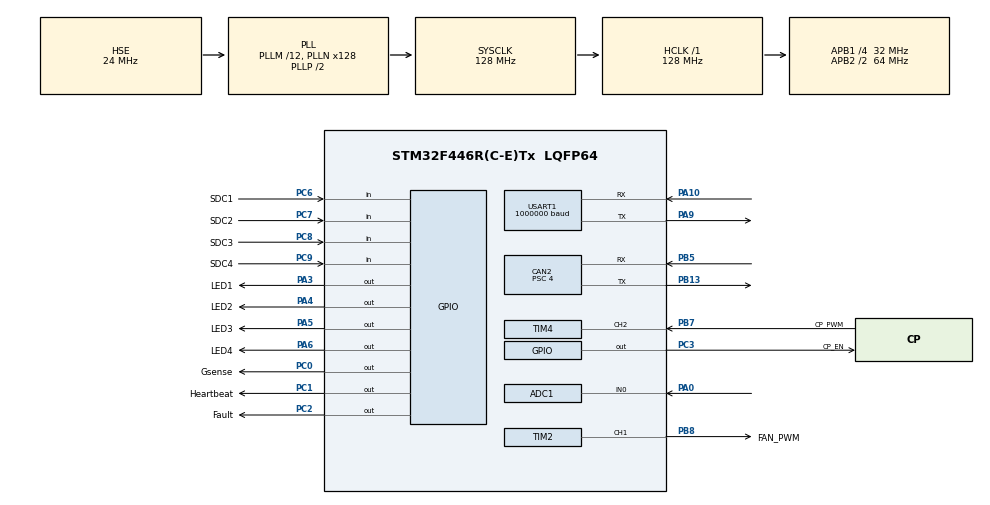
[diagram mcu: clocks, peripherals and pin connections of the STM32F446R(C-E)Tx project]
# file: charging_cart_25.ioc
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ADC1.Channel-1\#ChannelRegularConversion=ADC_CHANNEL_0
ADC1.NbrOfConversionFlag=1
ADC1.Rank-1\#ChannelRegularConversion=1
ADC1.SamplingTime-1\#ChannelRegularConversion=ADC_SAMPLETIME_3CYCLES
ADC1.master=1
CAN2.ABOM=ENABLE
CAN2.AWUM=ENABLE
CAN2.BS1=CAN_BS1_6TQ
CAN2.CalculateBaudRate=1000000
CAN2.CalculateTimeBit=1000
CAN2.CalculateTimeQuantum=125.0
CAN2.Mode=CAN_MODE_NORMAL
CAN2.Prescaler=4
FREERTOS.Tasks01=printTask,0,1024,startPrintTask,Default,NULL,Static,printTaskBuffer,printTaskControlBlock;idleTask,-3,1024,startIdleTask,Default,NULL,Static,idleTaskBuffer,idleTaskControlBlock;serviceGcanTask,0,1024,startServiceGcanTask,Default,NULL,Static,serviceGcanBuffer,serviceGcanControlBlock;sdc,-3,1024,startSdc,Default,NULL,Static,sdcBuffer,sdcControlBlock;j1772,-3,1024,startJ1772,Default,NULL,Static,j1772Buffer,j1772ControlBlock;status_led,-3,1024,Startstatus_led,Default,NULL,Static,status_ledBuffer,status_ledControlBlock
Mcu.Family=STM32F4
Mcu.Name=STM32F446R(C-E)Tx
Mcu.Package=LQFP64
NVIC.CAN2_RX0_IRQn=true\:5\:0\:false\:false\:true\:true\:true\:true\:true
NVIC.CAN2_RX1_IRQn=true\:5\:0\:false\:false\:true\:true\:true\:true\:true
NVIC.CAN2_TX_IRQn=true\:5\:0\:false\:false\:true\:true\:true\:true\:true
NVIC.PriorityGroup=NVIC_PRIORITYGROUP_4
NVIC.TIM2_IRQn=true\:5\:0\:false\:false\:true\:true\:true\:true\:true
NVIC.TIM4_IRQn=true\:5\:0\:false\:false\:true\:true\:true\:true\:true
NVIC.TIM6_DAC_IRQn=true\:15\:0\:false\:false\:true\:false\:false\:true\:true
NVIC.TimeBase=TIM6_DAC_IRQn
NVIC.TimeBaseIP=TIM6
PA0-WKUP.Signal=ADCx_IN0
PA10.Mode=Asynchronous
PA10.Signal=USART1_RX
PA3.GPIO_Label=LED1
PA3.Signal=GPIO_Output
PA4.GPIO_Label=LED2
PA4.Signal=GPIO_Output
PA5.GPIO_Label=LED3
PA5.Signal=GPIO_Output
PA6.GPIO_Label=LED4
PA6.Signal=GPIO_Output
PA9.Mode=Asynchronous
PA9.Signal=USART1_TX
PB13.Mode=CAN_Activate
PB13.Signal=CAN2_TX
PB5.Mode=CAN_Activate
PB5.Signal=CAN2_RX
PB7.GPIO_Label=CP_PWM
PB7.Signal=S_TIM4_CH2
PB8.GPIO_Label=FAN_PWM
PB8.Signal=S_TIM2_CH1_ETR
PC0.GPIO_Label=Gsense
PC0.Signal=GPIO_Output
PC1.GPIO_Label=Heartbeat
PC1.Signal=GPIO_Output
PC2.GPIO_Label=Fault
PC2.Signal=GPIO_Output
PC3.GPIO_Label=CP_EN
PC3.Signal=GPIO_Output
PC6.GPIO_Label=SDC1
PC6.Signal=GPIO_Input
PC7.GPIO_Label=SDC2
PC7.Signal=GPIO_Input
PC8.GPIO_Label=SDC3
PC8.Signal=GPIO_Input
PC9.GPIO_Label=SDC4
PC9.Signal=GPIO_Input
PH0-OSC_IN.Mode=HSE-External-Oscillator
PH0-OSC_IN.Signal=RCC_OSC_IN
PH1-OSC_OUT.Mode=HSE-External-Oscillator
PH1-OSC_OUT.Signal=RCC_OSC_OUT
ProjectManager.HeapSize=0x200
ProjectManager.StackSize=0x400
ProjectManager.TargetToolchain=CMake
RCC.AHBFreq_Value=128000000
RCC.APB1CLKDivider=RCC_HCLK_DIV4
RCC.APB1Freq_Value=32000000
RCC.APB1TimFreq_Value=64000000
RCC.APB2CLKDivider=RCC_HCLK_DIV2
RCC.APB2Freq_Value=64000000
RCC.APB2TimFreq_Value=128000000
RCC.CortexFreq_Value=128000000
RCC.HCLKFreq_Value=128000000
RCC.HSE_VALUE=24000000
RCC.PLLM=12
RCC.PLLN=128
RCC.PLLSourceVirtual=RCC_PLLSOURCE_HSE
RCC.SYSCLKFreq_VALUE=128000000
RCC.SYSCLKSource=RCC_SYSCLKSOURCE_PLLCLK
RCC.USBFreq_Value=128000000
RCC.VCOOutputFreq_Value=256000000
SH.ADCx_IN0.0=ADC1_IN0,IN0
SH.S_TIM2_CH1_ETR.0=TIM2_CH1,PWM Generation1 CH1
SH.S_TIM4_CH2.0=TIM4_CH2,PWM_Input_2
TIM1.Channel-PWM\ Generation1\ CH1=TIM_CHANNEL_1
TIM2.Channel-PWM\ Generation1\ CH1=TIM_CHANNEL_1
TIM2.Period=65535
TIM2.Prescaler=29297
TIM4.ICPolarity_1=TIM_INPUTCHANNELPOLARITY_FALLING
TIM4.Prescaler=63
USART1.BaudRate=1000000
USART1.VirtualMode=VM_ASYNC
VP_FREERTOS_VS_CMSIS_V1.Mode=CMSIS_V1
VP_SYS_VS_tim6.Mode=TIM6
VP_TIM1_VS_ClockSourceINT.Mode=Internal
VP_TIM2_VS_ClockSourceINT.Mode=Internal
VP_TIM4_VS_ClockSourceINT.Mode=Internal
board=custom

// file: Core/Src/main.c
/* USER CODE BEGIN Header */
/**
  ******************************************************************************
  * @file           : main.c
  * @brief          : Main program body
  ******************************************************************************
  * @attention
  *
  * Copyright (c) 2025 STMicroelectronics.
  * All rights reserved.
  *
  * This software is licensed under terms that can be found in the LICENSE file
  * in the root directory of this software component.
  * If no LICENSE file comes with this software, it is provided AS-IS.
  *
  ******************************************************************************
  */
/* USER CODE END Header */
#include "main.h"
#include "cmsis_os.h"

/* USER CODE BEGIN Includes */
#include "idleTask.h"
#include "j1772.h"
#include "sdc.h"
#include "status_led.h"
#include "GopherCAN.h"
#include "gopher_sense.h"
/* USER CODE END Includes */

ADC_HandleTypeDef hadc1;

CAN_HandleTypeDef hcan2;

TIM_HandleTypeDef htim1;
TIM_HandleTypeDef htim2;
TIM_HandleTypeDef htim4;

UART_HandleTypeDef huart1;

osThreadId printTaskHandle;
uint32_t printTaskBuffer[ 1024 ];
osStaticThreadDef_t printTaskControlBlock;
osThreadId idleTaskHandle;
uint32_t idleTaskBuffer[ 1024 ];
osStaticThreadDef_t idleTaskControlBlock;
osThreadId serviceGcanTaskHandle;
uint32_t serviceGcanBuffer[ 1024 ];
osStaticThreadDef_t serviceGcanControlBlock;
osThreadId sdcHandle;
uint32_t sdcBuffer[ 1024 ];
osStaticThreadDef_t sdcControlBlock;
osThreadId j1772Handle;
uint32_t j1772Buffer[ 1024 ];
osStaticThreadDef_t j1772ControlBlock;
osThreadId status_ledHandle;
uint32_t status_ledBuffer[ 1024 ];
osStaticThreadDef_t status_ledControlBlock;
/* USER CODE BEGIN PV */

// J1772 Control Pilot (CP) PWM status variables
volatile uint32_t cpFrequency;
volatile uint32_t cpHighTime;
volatile uint32_t cpDutyCycle;
volatile uint32_t cpLastUpdate;
chargingData_S chargingData;

uint8_t buzzer_toggle = 0;

/* USER CODE END PV */

void SystemClock_Config(void);
static void MX_GPIO_Init(void);
static void MX_ADC1_Init(void);
static void MX_CAN2_Init(void);
static void MX_USART1_UART_Init(void);
static void MX_TIM1_Init(void);
static void MX_TIM4_Init(void);
static void MX_TIM2_Init(void);
void startPrintTask(void const * argument);
void startIdleTask(void const * argument);
void startServiceGcanTask(void const * argument);
void startSdc(void const * argument);
void startJ1772(void const * argument);
void Startstatus_led(void const * argument);

/* USER CODE BEGIN PFP */
#ifdef __GNUC__
#define PUTCHAR_PROTOTYPE int __io_putchar(int ch)
#define GETCHAR_PROTOTYPE int __io_getchar(void)
#else
#define PUTCHAR_PROTOTYPE int fputc(int ch, FILE *f)
#define GETCHAR_PROTOTYPE int fgetc(FILE *f)
#endif

PUTCHAR_PROTOTYPE
{
  HAL_UART_Transmit(&huart1, (uint8_t *)&ch, 1, HAL_MAX_DELAY);
  return ch;
}

GETCHAR_PROTOTYPE
{
  uint8_t ch = 0;

  /* Clear the Overrun flag just before receiving the first character */
  __HAL_UART_CLEAR_OREFLAG(&huart1);

  /* Wait for reception of a character on the USART RX line and echo this
   * character on console */
  HAL_UART_Receive(&huart1, (uint8_t *)&ch, 1, HAL_MAX_DELAY);
  HAL_UART_Transmit(&huart1, (uint8_t *)&ch, 1, HAL_MAX_DELAY);
  return ch;
}
/* USER CODE END PFP */

/* USER CODE BEGIN 0 */

/*!
  @brief   Interrupt when Timer input capture triggered
  @param   TIM Handle
*/
void HAL_TIM_IC_CaptureCallback(TIM_HandleTypeDef *htim)
{
	// If the interrupt is triggered by channel 2 (rising edge detection)
  if ((htim == &htim4) && (htim->Channel == HAL_TIM_ACTIVE_CHANNEL_2))
	{
    // Record cp update time
    cpLastUpdate = HAL_GetTick();

		// Read the raw IC value of the timer with rising edge detection (this should be 1000 us (1 ms))
		uint32_t inputCaptureRaw = HAL_TIM_ReadCapturedValue(htim, TIM_CHANNEL_2);
    // Prevent divide by 0
		if(inputCaptureRaw != 0)
		{
      // Calculate the signal high time in microseconds
      // The captured value in channel one contains the timestamp of the falling edge.
      // Since the timer is reset on a rising edge this contains the pulse width of the high time.
      cpHighTime = HAL_TIM_ReadCapturedValue(htim, TIM_CHANNEL_1);

			// Calculate the Duty Cycle
      // This high time value is then divided by inputCaptureRaw -
      // which is the period of the PWM cycle in timer ticks to get duty cycle
      // (multiply by 100 because duty cycle is a percentage)
			cpDutyCycle = (HAL_TIM_ReadCapturedValue(htim, TIM_CHANNEL_1) * 100) / inputCaptureRaw;

      // Calculate the Frequency
      // The timer CLK runs at 2x frequency of PCLK1. This is then divided by the prescalar.
      uint32_t timerFrequency = (HAL_RCC_GetPCLK1Freq() * 2) / htim4.Init.Prescaler;
      // Frequency scaling
			cpFrequency =  timerFrequency / inputCaptureRaw;
		}
	}
}

/* USER CODE END 0 */

int main(void)
{

  /* MCU Configuration--------------------------------------------------------*/

  /* Reset of all peripherals, Initializes the Flash interface and the Systick. */
  HAL_Init();

  /* Configure the system clock */
  SystemClock_Config();

  /* Initialize all configured peripherals */
  MX_GPIO_Init();
  MX_ADC1_Init();
  MX_CAN2_Init();
  MX_USART1_UART_Init();
  MX_TIM1_Init();
  MX_TIM4_Init();
  MX_TIM2_Init();
  /* USER CODE BEGIN 2 */

  init_can(&hcan2, GCAN0);
  gsense_init(&hcan2, Gsense_GPIO_Port, Gsense_Pin);

  // Set CP_EN to low (disabled) by default
  HAL_GPIO_WritePin(CP_EN_GPIO_Port, CP_EN_Pin, GPIO_PIN_RESET);

  // Start J1772 PWM input capture
  HAL_TIM_IC_Start(&htim4, TIM_CHANNEL_1);
  HAL_TIM_IC_Start_IT(&htim4, TIM_CHANNEL_2);

  /* USER CODE END 2 */

  /* Create the thread(s) */
  /* definition and creation of printTask */
  osThreadStaticDef(printTask, startPrintTask, osPriorityNormal, 0, 1024, printTaskBuffer, &printTaskControlBlock);
  printTaskHandle = osThreadCreate(osThread(printTask), NULL);

  /* definition and creation of idleTask */
  osThreadStaticDef(idleTask, startIdleTask, osPriorityIdle, 0, 1024, idleTaskBuffer, &idleTaskControlBlock);
  idleTaskHandle = osThreadCreate(osThread(idleTask), NULL);

  /* definition and creation of serviceGcanTask */
  osThreadStaticDef(serviceGcanTask, startServiceGcanTask, osPriorityNormal, 0, 1024, serviceGcanBuffer, &serviceGcanControlBlock);
  serviceGcanTaskHandle = osThreadCreate(osThread(serviceGcanTask), NULL);

  /* definition and creation of sdc */
  osThreadStaticDef(sdc, startSdc, osPriorityIdle, 0, 1024, sdcBuffer, &sdcControlBlock);
  sdcHandle = osThreadCreate(osThread(sdc), NULL);

  /* definition and creation of j1772 */
  osThreadStaticDef(j1772, startJ1772, osPriorityIdle, 0, 1024, j1772Buffer, &j1772ControlBlock);
  j1772Handle = osThreadCreate(osThread(j1772), NULL);

  /* definition and creation of status_led */
  osThreadStaticDef(status_led, Startstatus_led, osPriorityIdle, 0, 1024, status_ledBuffer, &status_ledControlBlock);
  status_ledHandle = osThreadCreate(osThread(status_led), NULL);

  /* Start scheduler */
  osKernelStart();

  /* We should never get here as control is now taken by the scheduler */

  /* Infinite loop */
  while (1)
  {

  }
}

void SystemClock_Config(void)
{
  RCC_OscInitTypeDef RCC_OscInitStruct = {0};
  RCC_ClkInitTypeDef RCC_ClkInitStruct = {0};

  /** Configure the main internal regulator output voltage
  */
  __HAL_RCC_PWR_CLK_ENABLE();
  __HAL_PWR_VOLTAGESCALING_CONFIG(PWR_REGULATOR_VOLTAGE_SCALE2);

  /** Initializes the RCC Oscillators according to the specified parameters
  * in the RCC_OscInitTypeDef structure.
  */
  RCC_OscInitStruct.OscillatorType = RCC_OSCILLATORTYPE_HSE;
  RCC_OscInitStruct.HSEState = RCC_HSE_ON;
  RCC_OscInitStruct.PLL.PLLState = RCC_PLL_ON;
  RCC_OscInitStruct.PLL.PLLSource = RCC_PLLSOURCE_HSE;
  RCC_OscInitStruct.PLL.PLLM = 12;
  RCC_OscInitStruct.PLL.PLLN = 128;
  RCC_OscInitStruct.PLL.PLLP = RCC_PLLP_DIV2;
  RCC_OscInitStruct.PLL.PLLQ = 2;
  RCC_OscInitStruct.PLL.PLLR = 2;
  if (HAL_RCC_OscConfig(&RCC_OscInitStruct) != HAL_OK)
  {
    Error_Handler();
  }

  /** Initializes the CPU, AHB and APB buses clocks
  */
  RCC_ClkInitStruct.ClockType = RCC_CLOCKTYPE_HCLK|RCC_CLOCKTYPE_SYSCLK
                              |RCC_CLOCKTYPE_PCLK1|RCC_CLOCKTYPE_PCLK2;
  RCC_ClkInitStruct.SYSCLKSource = RCC_SYSCLKSOURCE_PLLCLK;
  RCC_ClkInitStruct.AHBCLKDivider = RCC_SYSCLK_DIV1;
  RCC_ClkInitStruct.APB1CLKDivider = RCC_HCLK_DIV4;
  RCC_ClkInitStruct.APB2CLKDivider = RCC_HCLK_DIV2;

  if (HAL_RCC_ClockConfig(&RCC_ClkInitStruct, FLASH_LATENCY_4) != HAL_OK)
  {
    Error_Handler();
  }
}

static void MX_ADC1_Init(void)
{

  ADC_ChannelConfTypeDef sConfig = {0};

  /** Configure the global features of the ADC (Clock, Resolution, Data Alignment and number of conversion)
  */
  hadc1.Instance = ADC1;
  hadc1.Init.ClockPrescaler = ADC_CLOCK_SYNC_PCLK_DIV2;
  hadc1.Init.Resolution = ADC_RESOLUTION_12B;
  hadc1.Init.ScanConvMode = DISABLE;
  hadc1.Init.ContinuousConvMode = DISABLE;
  hadc1.Init.DiscontinuousConvMode = DISABLE;
  hadc1.Init.ExternalTrigConvEdge = ADC_EXTERNALTRIGCONVEDGE_NONE;
  hadc1.Init.ExternalTrigConv = ADC_SOFTWARE_START;
  hadc1.Init.DataAlign = ADC_DATAALIGN_RIGHT;
  hadc1.Init.NbrOfConversion = 1;
  hadc1.Init.DMAContinuousRequests = DISABLE;
  hadc1.Init.EOCSelection = ADC_EOC_SINGLE_CONV;
  if (HAL_ADC_Init(&hadc1) != HAL_OK)
  {
    Error_Handler();
  }

  /** Configure for the selected ADC regular channel its corresponding rank in the sequencer and its sample time.
  */
  sConfig.Channel = ADC_CHANNEL_0;
  sConfig.Rank = 1;
  sConfig.SamplingTime = ADC_SAMPLETIME_3CYCLES;
  if (HAL_ADC_ConfigChannel(&hadc1, &sConfig) != HAL_OK)
  {
    Error_Handler();
  }

}

static void MX_CAN2_Init(void)
{

  hcan2.Instance = CAN2;
  hcan2.Init.Prescaler = 4;
  hcan2.Init.Mode = CAN_MODE_NORMAL;
  hcan2.Init.SyncJumpWidth = CAN_SJW_1TQ;
  hcan2.Init.TimeSeg1 = CAN_BS1_6TQ;
  hcan2.Init.TimeSeg2 = CAN_BS2_1TQ;
  hcan2.Init.TimeTriggeredMode = DISABLE;
  hcan2.Init.AutoBusOff = ENABLE;
  hcan2.Init.AutoWakeUp = ENABLE;
  hcan2.Init.AutoRetransmission = DISABLE;
  hcan2.Init.ReceiveFifoLocked = DISABLE;
  hcan2.Init.TransmitFifoPriority = DISABLE;
  if (HAL_CAN_Init(&hcan2) != HAL_OK)
  {
    Error_Handler();
  }

}

static void MX_TIM1_Init(void)
{

  TIM_ClockConfigTypeDef sClockSourceConfig = {0};
  TIM_MasterConfigTypeDef sMasterConfig = {0};

  htim1.Instance = TIM1;
  htim1.Init.Prescaler = 0;
  htim1.Init.CounterMode = TIM_COUNTERMODE_UP;
  htim1.Init.Period = 65535;
  htim1.Init.ClockDivision = TIM_CLOCKDIVISION_DIV1;
  htim1.Init.RepetitionCounter = 0;
  htim1.Init.AutoReloadPreload = TIM_AUTORELOAD_PRELOAD_DISABLE;
  if (HAL_TIM_Base_Init(&htim1) != HAL_OK)
  {
    Error_Handler();
  }
  sClockSourceConfig.ClockSource = TIM_CLOCKSOURCE_INTERNAL;
  if (HAL_TIM_ConfigClockSource(&htim1, &sClockSourceConfig) != HAL_OK)
  {
    Error_Handler();
  }
  sMasterConfig.MasterOutputTrigger = TIM_TRGO_RESET;
  sMasterConfig.MasterSlaveMode = TIM_MASTERSLAVEMODE_DISABLE;
  if (HAL_TIMEx_MasterConfigSynchronization(&htim1, &sMasterConfig) != HAL_OK)
  {
    Error_Handler();
  }

}

static void MX_TIM2_Init(void)
{

  TIM_ClockConfigTypeDef sClockSourceConfig = {0};
  TIM_MasterConfigTypeDef sMasterConfig = {0};
  TIM_OC_InitTypeDef sConfigOC = {0};

  htim2.Instance = TIM2;
  htim2.Init.Prescaler = 29297;
  htim2.Init.CounterMode = TIM_COUNTERMODE_UP;
  htim2.Init.Period = 65535;
  htim2.Init.ClockDivision = TIM_CLOCKDIVISION_DIV1;
  htim2.Init.AutoReloadPreload = TIM_AUTORELOAD_PRELOAD_DISABLE;
  if (HAL_TIM_Base_Init(&htim2) != HAL_OK)
  {
    Error_Handler();
  }
  sClockSourceConfig.ClockSource = TIM_CLOCKSOURCE_INTERNAL;
  if (HAL_TIM_ConfigClockSource(&htim2, &sClockSourceConfig) != HAL_OK)
  {
    Error_Handler();
  }
  if (HAL_TIM_PWM_Init(&htim2) != HAL_OK)
  {
    Error_Handler();
  }
  sMasterConfig.MasterOutputTrigger = TIM_TRGO_RESET;
  sMasterConfig.MasterSlaveMode = TIM_MASTERSLAVEMODE_DISABLE;
  if (HAL_TIMEx_MasterConfigSynchronization(&htim2, &sMasterConfig) != HAL_OK)
  {
    Error_Handler();
  }
  sConfigOC.OCMode = TIM_OCMODE_PWM1;
  sConfigOC.Pulse = 0;
  sConfigOC.OCPolarity = TIM_OCPOLARITY_HIGH;
  sConfigOC.OCFastMode = TIM_OCFAST_DISABLE;
  if (HAL_TIM_PWM_ConfigChannel(&htim2, &sConfigOC, TIM_CHANNEL_1) != HAL_OK)
  {
    Error_Handler();
  }
  HAL_TIM_MspPostInit(&htim2);

}

static void MX_TIM4_Init(void)
{

  TIM_ClockConfigTypeDef sClockSourceConfig = {0};
  TIM_SlaveConfigTypeDef sSlaveConfig = {0};
  TIM_IC_InitTypeDef sConfigIC = {0};
  TIM_MasterConfigTypeDef sMasterConfig = {0};

  htim4.Instance = TIM4;
  htim4.Init.Prescaler = 63;
  htim4.Init.CounterMode = TIM_COUNTERMODE_UP;
  htim4.Init.Period = 65535;
  htim4.Init.ClockDivision = TIM_CLOCKDIVISION_DIV1;
  htim4.Init.AutoReloadPreload = TIM_AUTORELOAD_PRELOAD_DISABLE;
  if (HAL_TIM_Base_Init(&htim4) != HAL_OK)
  {
    Error_Handler();
  }
  sClockSourceConfig.ClockSource = TIM_CLOCKSOURCE_INTERNAL;
  if (HAL_TIM_ConfigClockSource(&htim4, &sClockSourceConfig) != HAL_OK)
  {
    Error_Handler();
  }
  if (HAL_TIM_IC_Init(&htim4) != HAL_OK)
  {
    Error_Handler();
  }
  sSlaveConfig.SlaveMode = TIM_SLAVEMODE_RESET;
  sSlaveConfig.InputTrigger = TIM_TS_TI2FP2;
  sSlaveConfig.TriggerPolarity = TIM_INPUTCHANNELPOLARITY_RISING;
  sSlaveConfig.TriggerPrescaler = TIM_ICPSC_DIV1;
  sSlaveConfig.TriggerFilter = 0;
  if (HAL_TIM_SlaveConfigSynchro(&htim4, &sSlaveConfig) != HAL_OK)
  {
    Error_Handler();
  }
  sConfigIC.ICPolarity = TIM_INPUTCHANNELPOLARITY_FALLING;
  sConfigIC.ICSelection = TIM_ICSELECTION_INDIRECTTI;
  sConfigIC.ICPrescaler = TIM_ICPSC_DIV1;
  sConfigIC.ICFilter = 0;
  if (HAL_TIM_IC_ConfigChannel(&htim4, &sConfigIC, TIM_CHANNEL_1) != HAL_OK)
  {
    Error_Handler();
  }
  sConfigIC.ICPolarity = TIM_INPUTCHANNELPOLARITY_RISING;
  sConfigIC.ICSelection = TIM_ICSELECTION_DIRECTTI;
  if (HAL_TIM_IC_ConfigChannel(&htim4, &sConfigIC, TIM_CHANNEL_2) != HAL_OK)
  {
    Error_Handler();
  }
  sMasterConfig.MasterOutputTrigger = TIM_TRGO_RESET;
  sMasterConfig.MasterSlaveMode = TIM_MASTERSLAVEMODE_DISABLE;
  if (HAL_TIMEx_MasterConfigSynchronization(&htim4, &sMasterConfig) != HAL_OK)
  {
    Error_Handler();
  }

}

static void MX_USART1_UART_Init(void)
{

  huart1.Instance = USART1;
  huart1.Init.BaudRate = 1000000;
  huart1.Init.WordLength = UART_WORDLENGTH_8B;
  huart1.Init.StopBits = UART_STOPBITS_1;
  huart1.Init.Parity = UART_PARITY_NONE;
  huart1.Init.Mode = UART_MODE_TX_RX;
  huart1.Init.HwFlowCtl = UART_HWCONTROL_NONE;
  huart1.Init.OverSampling = UART_OVERSAMPLING_16;
  if (HAL_UART_Init(&huart1) != HAL_OK)
  {
    Error_Handler();
  }

}

static void MX_GPIO_Init(void)
{
  GPIO_InitTypeDef GPIO_InitStruct = {0};

  /* GPIO Ports Clock Enable */
  __HAL_RCC_GPIOH_CLK_ENABLE();
  __HAL_RCC_GPIOC_CLK_ENABLE();
  __HAL_RCC_GPIOA_CLK_ENABLE();
  __HAL_RCC_GPIOB_CLK_ENABLE();

  /*Configure GPIO pin Output Level */
  HAL_GPIO_WritePin(GPIOC, Gsense_Pin|Heartbeat_Pin|Fault_Pin|CP_EN_Pin, GPIO_PIN_RESET);

  /*Configure GPIO pin Output Level */
  HAL_GPIO_WritePin(GPIOA, LED1_Pin|LED2_Pin|LED3_Pin|LED4_Pin, GPIO_PIN_RESET);

  /*Configure GPIO pins : Gsense_Pin Heartbeat_Pin Fault_Pin CP_EN_Pin */
  GPIO_InitStruct.Pin = Gsense_Pin|Heartbeat_Pin|Fault_Pin|CP_EN_Pin;
  GPIO_InitStruct.Mode = GPIO_MODE_OUTPUT_PP;
  GPIO_InitStruct.Pull = GPIO_NOPULL;
  GPIO_InitStruct.Speed = GPIO_SPEED_FREQ_LOW;
  HAL_GPIO_Init(GPIOC, &GPIO_InitStruct);

  /*Configure GPIO pins : LED1_Pin LED2_Pin LED3_Pin LED4_Pin */
  GPIO_InitStruct.Pin = LED1_Pin|LED2_Pin|LED3_Pin|LED4_Pin;
  GPIO_InitStruct.Mode = GPIO_MODE_OUTPUT_PP;
  GPIO_InitStruct.Pull = GPIO_NOPULL;
  GPIO_InitStruct.Speed = GPIO_SPEED_FREQ_LOW;
  HAL_GPIO_Init(GPIOA, &GPIO_InitStruct);

  /*Configure GPIO pins : SDC1_Pin SDC2_Pin SDC3_Pin SDC4_Pin */
  GPIO_InitStruct.Pin = SDC1_Pin|SDC2_Pin|SDC3_Pin|SDC4_Pin;
  GPIO_InitStruct.Mode = GPIO_MODE_INPUT;
  GPIO_InitStruct.Pull = GPIO_NOPULL;
  HAL_GPIO_Init(GPIOC, &GPIO_InitStruct);

}

void startPrintTask(void const * argument)
{
  /* USER CODE BEGIN 5 */
  /* Infinite loop */
  for(;;)
  {
    // printf("\e[1;1H\e[2J");

    // printf("soe: %f\n", soeByOCV_percent.data);
    // printf("SYSCLK: %lu Hz\n", HAL_RCC_GetSysClockFreq());
    osDelay(1000);
  }
  /* USER CODE END 5 */
}

void startIdleTask(void const * argument)
{
  /* USER CODE BEGIN startIdleTask */
  initIdleTask();
  /* Infinite loop */
  for(;;)
  {
    runIdleTask();
    HAL_TIM_PWM_Start(&htim2, TIM_CHANNEL_1);
    osDelay(1);
  }
  /* USER CODE END startIdleTask */
}

void startServiceGcanTask(void const * argument)
{
  /* USER CODE BEGIN startServiceGcanTask */

  /* Infinite loop */
  for(;;)
  {

    service_can_rx_buffer();

    static uint32_t lastUpdate = 0;
    if((HAL_GetTick() - lastUpdate >= 100))
    {
      lastUpdate = HAL_GetTick();
      chargingPowerLimit.data = chargingData.powerLimit;
      forceEnableBalancing_state.data = 0;
      send_group(chargingPowerLimit.info.GROUP_ID);
    }

    // Don't use update_and_queue_param_float for chargingPowerLimit
    // It will only send when the value is updated, so the BMS will timeout and reset the limit if
    // it stays constant
    // update_and_queue_param_float(&chargingPowerLimit,chargingData.powerLimit);

    service_can_tx(&hcan2);

    osDelay(10);
  }
  /* USER CODE END startServiceGcanTask */
}

void startSdc(void const * argument)
{
  /* USER CODE BEGIN startSdc */
  initSdc();
  /* Infinite loop */
  for(;;)
  {
    runSdc();
    osDelay(1);
  }
  /* USER CODE END startSdc */
}

void startJ1772(void const * argument)
{
  /* USER CODE BEGIN startJ1772 */

  /* Infinite loop */
  for(;;)
  {
    chargingData_S chargingDataLocal;
    getJ1772Status(&chargingDataLocal);
    vTaskSuspendAll();
    chargingData = chargingDataLocal;
    xTaskResumeAll();
    osDelay(1);
  }
  /* USER CODE END startJ1772 */
}

void Startstatus_led(void const * argument)
{
  /* USER CODE BEGIN Startstatus_led */
  initStatus_LEDs();
  /* Infinite loop */
  for(;;)
  {
    check_LEDs();
    osDelay(1);
  }
  }
  /* USER CODE END Startstatus_led */

void HAL_TIM_PeriodElapsedCallback(TIM_HandleTypeDef *htim)
{
  if (htim->Instance == TIM6) {
    HAL_IncTick();
  }
  /* USER CODE BEGIN Callback 1 */
  if (htim->Instance == TIM2) {
        HAL_GPIO_WritePin(LED4_GPIO_Port, LED4_Pin, 0); // buzzer off
        buzzer_toggle = 0;
  }
  /* USER CODE END Callback 1 */
}

void Error_Handler(void)
{
  __disable_irq();
  while (1)
  {
  }
}
